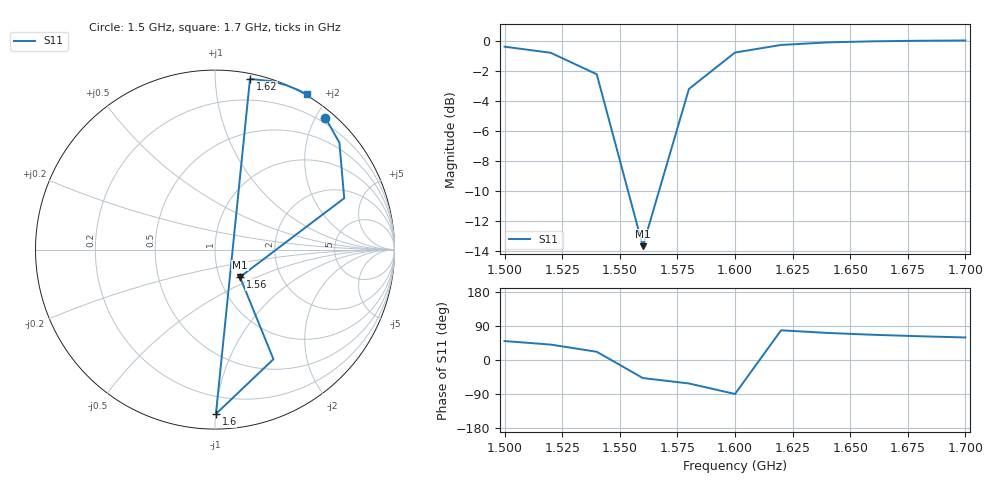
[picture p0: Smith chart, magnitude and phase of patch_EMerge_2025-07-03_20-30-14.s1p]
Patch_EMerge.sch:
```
<Qucs Schematic 25.1.2>
<Properties>
  <View=323,137,792,401,3.35394,0,0>
  <Grid=10,10,1>
  <DataSet=Patch_EMerge.dat>
  <DataDisplay=Patch_EMerge.dpl>
  <OpenDisplay=0>
  <Script=Patch_EMerge.m>
  <RunScript=0>
  <showFrame=0>
  <FrameText0=Title>
  <FrameText1=Drawn By:>
  <FrameText2=Date:>
  <FrameText3=Revision:>
</Properties>
<Symbol>
  <.ID 30 94 SUB>
  <.PortSym -30 0 1 0 P1>
  <Rectangle -30 -10 80 20 #000000 1 1 #c0c0c0 1 1>
  <Rectangle 50 -70 160 140 #000000 1 1 #ffaa00 1 1>
  <Text 70 -100 11 #000000 0 "EMerge">
</Symbol>
<Components>
  <GND * 1 470 300 0 0 0 0>
  <SPfile X1 1 470 270 -26 -55 0 0 "patch_EMerge_2025-07-03_20-30-14.s1p" 1 "rectangular" 0 "linear" 0 "open" 0 "1" 0>
  <Port P1 1 390 270 -23 12 0 0 "1" 1 "analog" 0>
</Components>
<Wires>
  <390 270 440 270 "" 0 0 0 "">
</Wires>
<Diagrams>
</Diagrams>
<Paintings>
</Paintings>
```
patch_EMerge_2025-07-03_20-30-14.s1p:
! Generated by EMerge - 1-port S-parameters
! File generated: 2025-07-03 20:30
! er: 3.38
! h = 0.001524 mm
! Design parameters:
! Wpatch = 0.053 mm
! Lpatch = 0.052000000000000005 mm
! wline = 0.0032 mm
! wstub = 0.007 mm
! Air box height = 0.04 mm
! Run time = 2.577887499332428 min
# GHZ S MA R 50
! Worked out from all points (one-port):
!   11 points, 1.5 GHz to 1.7 GHz, reference 50 ohm
!   lowest |S11| = -13.7 dB at 1.56 GHz (marker M1), VSWR 1.52, Z = 62.6 - j20 ohm
!   |S11| at or under -10 dB: 1.554 GHz to 1.567 GHz (13.48 MHz wide, 0.864 % of centre)
!   S11 on the Smith chart (normalised r, x): 1.5 GHz: 0.12, +2.14; 1.56 GHz: 1.25, -0.40; 1.6 GHz: 0.09, -1.00; 1.62 GHz: 0.04, +1.23; 1.7 GHz: -0.01, +1.75
1.5  0.9578 50.0
1.52  0.914 40.7
1.54  0.7748 21.7
1.56  0.2066 -47.7
1.58  0.6919 -61.9
1.6  0.9157 -89.7
1.62  0.9706 78.4
1.64  0.9898 71.5
1.66  0.9982 66.6
1.68  1.002 62.7
1.7  1.005 59.5
